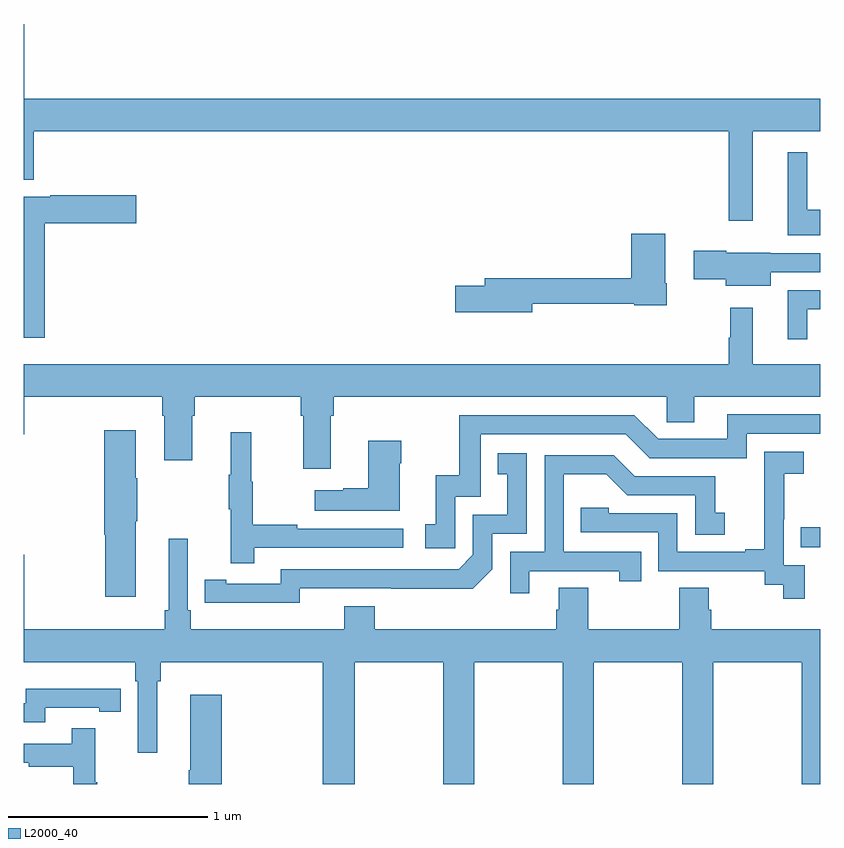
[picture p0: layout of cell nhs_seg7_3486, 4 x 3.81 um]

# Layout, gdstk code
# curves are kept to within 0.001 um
import gdstk
lib = gdstk.Library(unit=1e-6, precision=1e-09)
def R(c, l, rs):  # rectangles x0, y0, x1, y1
    for r in rs: c.add(gdstk.rectangle(r[:2], r[2:], *l))
def P(c, l, *ps):  # polygons
    for p in ps: c.add(gdstk.Polygon(p, *l))
L2000_40 = (2000, 40)

nhs_seg7_3486 = lib.new_cell('nhs_seg7_3486')
R(nhs_seg7_3486, L2000_40, [(336.901,1005.189,337,1005.29)])
P(nhs_seg7_3486, L2000_40, [(336.661,1007.276),(337,1007.276),(337,1007.44),(333.004,1007.44),(333.004,1007.815),(333,1007.815),(333,1007.033),(333.05,1007.033),(333.05,1007.276),(336.54,1007.276),(336.54,1006.827),(336.661,1006.827)],
  [(337,1006.882),(336.934,1006.882),(336.934,1007.17),(336.836,1007.17),(336.836,1006.754),(337,1006.754)],
  [(333.107,1006.814),(333.565,1006.814),(333.565,1006.956),(333.133,1006.956),(333.133,1006.948),(333,1006.948),(333,1006.241),(333.107,1006.241)],
  [(335.554,1006.41),(336.066,1006.41),(336.066,1006.402),(336.228,1006.402),(336.228,1006.513),(336.22,1006.513),(336.22,1006.762),(336.05,1006.762),(336.05,1006.538),(335.315,1006.538),(335.315,1006.502),(335.166,1006.502),(335.166,1006.367),(335.554,1006.367)],
  [(336.751,1006.569),(337,1006.569),(337,1006.665),(336.747,1006.665),(336.747,1006.666),(336.528,1006.666),(336.528,1006.676),(336.363,1006.676),(336.363,1006.534),(336.524,1006.534),(336.524,1006.502),(336.751,1006.502)],
  [(336.934,1006.383),(337,1006.383),(337,1006.479),(336.836,1006.479),(336.836,1006.233),(336.934,1006.233)],
  [(334.543,1005.848),(334.556,1005.848),(334.556,1005.944),(336.228,1005.944),(336.228,1005.817),(336.367,1005.817),(336.367,1005.944),(337,1005.944),(337,1006.108),(336.661,1006.108),(336.661,1006.39),(336.547,1006.39),(336.547,1006.241),(336.54,1006.241),(336.54,1006.108),(333,1006.108),(333,1005.756),(333.004,1005.756),(333.004,1005.944),(333.695,1005.944),(333.695,1005.848),(333.707,1005.848),(333.707,1005.624),(333.847,1005.624),(333.847,1005.848),(333.86,1005.848),(333.86,1005.944),(334.391,1005.944),(334.391,1005.848),(334.403,1005.848),(334.403,1005.582),(334.543,1005.582)],
  [(335.166,1005.441),(335.295,1005.441),(335.295,1005.756),(336.024,1005.756),(336.144,1005.636),(336.63,1005.636),(336.63,1005.759),(337,1005.759),(337,1005.855),(336.533,1005.855),(336.533,1005.732),(336.186,1005.732),(336.066,1005.852),(335.187,1005.852),(335.187,1005.55),(335.069,1005.55),(335.069,1005.303),(335.016,1005.303),(335.016,1005.183),(335.166,1005.183)],
  [(333.562,1005.319),(333.57,1005.319),(333.57,1005.536),(333.562,1005.536),(333.562,1005.775),(333.404,1005.775),(333.404,1005.252),(333.409,1005.252),(333.409,1004.94),(333.562,1004.94)],
  [(334.157,1005.186),(334.906,1005.186),(334.906,1005.282),(334.373,1005.282),(334.373,1005.302),(334.15,1005.302),(334.15,1005.516),(334.142,1005.516),(334.142,1005.766),(334.04,1005.766),(334.04,1005.553),(334.029,1005.553),(334.029,1005.379),(334.04,1005.379),(334.04,1005.108),(334.157,1005.108)],
  [(334.888,1005.611),(334.896,1005.611),(334.896,1005.724),(334.73,1005.724),(334.73,1005.485),(334.604,1005.485),(334.604,1005.475),(334.461,1005.475),(334.461,1005.371),(334.888,1005.371)],
  [(336.921,1005.099),(336.816,1005.099),(336.816,1005.329),(336.818,1005.329),(336.818,1005.557),(336.916,1005.557),(336.916,1005.667),(336.718,1005.667),(336.718,1005.461),(336.719,1005.461),(336.719,1005.178),(336.623,1005.178),(336.623,1005.165),(336.282,1005.165),(336.282,1005.36),(335.937,1005.36),(335.937,1005.387),(335.797,1005.387),(335.797,1005.264),(336.186,1005.264),(336.186,1005.069),(336.72,1005.069),(336.72,1005.001),(336.813,1005.001),(336.813,1004.931),(336.921,1004.931)],
  [(334.386,1004.982),(335.254,1004.981),(335.352,1005.078),(335.352,1005.255),(335.526,1005.255),(335.526,1005.661),(335.38,1005.661),(335.38,1005.555),(335.429,1005.555),(335.429,1005.351),(335.256,1005.351),(335.256,1005.15),(335.184,1005.078),(334.29,1005.078),(334.29,1005.006),(334.018,1005.006),(334.018,1005.026),(333.91,1005.026),(333.91,1004.91),(334.386,1004.909)],
  [(335.539,1005.069),(335.99,1005.069),(335.99,1005.018),(336.101,1005.018),(336.101,1005.165),(335.712,1005.165),(335.712,1005.554),(335.926,1005.554),(336.03,1005.45),(336.372,1005.45),(336.372,1005.252),(336.52,1005.252),(336.52,1005.361),(336.471,1005.361),(336.471,1005.546),(336.067,1005.546),(335.962,1005.651),(335.616,1005.651),(335.616,1005.165),(335.442,1005.165),(335.442,1004.958),(335.539,1004.958)],
  [(334.662,1004.612),(335.107,1004.612),(335.107,1004),(335.262,1004),(335.262,1004.612),(335.707,1004.612),(335.707,1004),(335.862,1004),(335.862,1004.612),(336.307,1004.612),(336.307,1004),(336.462,1004),(336.462,1004.612),(336.907,1004.612),(336.907,1004),(337,1004),(337,1004.776),(336.452,1004.776),(336.452,1004.874),(336.439,1004.874),(336.439,1004.984),(336.292,1004.984),(336.292,1004.776),(335.835,1004.776),(335.835,1004.984),(335.687,1004.984),(335.687,1004.874),(335.675,1004.874),(335.675,1004.776),(334.763,1004.776),(334.763,1004.893),(334.61,1004.893),(334.61,1004.776),(333.839,1004.776),(333.839,1004.872),(333.825,1004.872),(333.825,1005.232),(333.728,1005.232),(333.728,1004.872),(333.709,1004.872),(333.709,1004.776),(333.004,1004.776),(333.004,1005.151),(333,1005.151),(333,1004.612),(333.56,1004.612),(333.56,1004.516),(333.573,1004.516),(333.573,1004.157),(333.67,1004.157),(333.67,1004.516),(333.689,1004.516),(333.689,1004.612),(334.502,1004.612),(334.502,1004),(334.662,1004)],
  [(333.108,1004.382),(333.38,1004.382),(333.38,1004.362),(333.488,1004.362),(333.488,1004.478),(333.38,1004.478),(333.38,1004.479),(333.012,1004.479),(333.012,1004.406),(333,1004.406),(333,1004.31),(333.108,1004.31)],
  [(333.995,1004.449),(333.836,1004.449),(333.836,1004.069),(333.829,1004.069),(333.829,1004),(333.995,1004)],
  [(333.37,1004.009),(333.359,1004.009),(333.359,1004.281),(333.241,1004.281),(333.241,1004.202),(333,1004.202),(333,1004.106),(333.025,1004.106),(333.025,1004.086),(333.249,1004.086),(333.249,1004),(333.37,1004)])

lib.write_gds('nhs_seg7_3486.gds')
